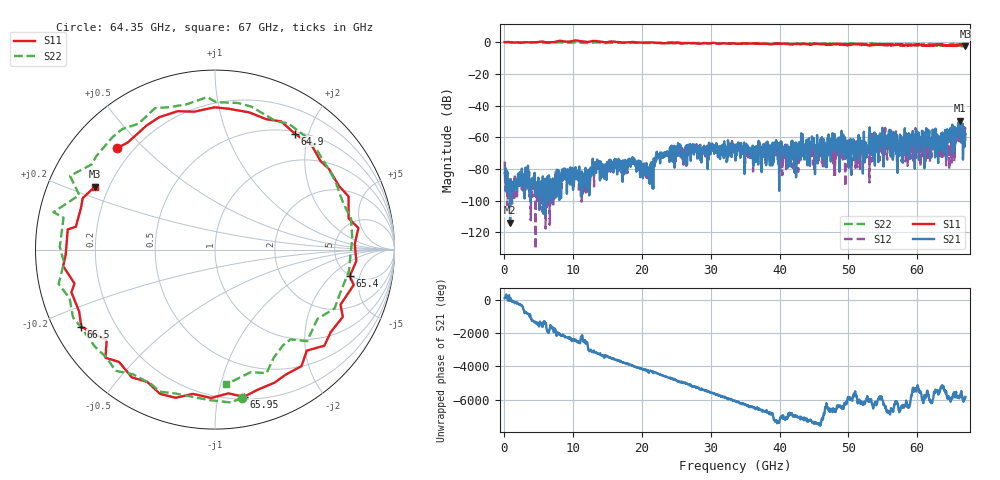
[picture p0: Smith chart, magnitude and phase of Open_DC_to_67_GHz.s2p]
#  HZ  S  MA  R  50.00
! Rohde & Schwarz ZVA67 4Ports - Version 4.11 - 1305.7002k04 SN: 101051
! Date: 2023-05-31 14:28:34
! Measurements: S11 S21 S12 S22
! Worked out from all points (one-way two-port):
!   1340 points, 50 MHz to 67 GHz, reference 50 ohm
!   highest |S21| = -49.48 dB at 66.25 GHz (marker M1); lowest = -114.1 dB at 850 MHz (marker M2)
!   lowest |S11| = -2.4 dB at 67 GHz (marker M3), VSWR 7.17, Z = 7.39 + j12.1 ohm
!   |S11| at or under -10 dB: nowhere
!   |S22| runs from -3.7 to 0.2 dB; largest |S21 - S12| = 0.0036
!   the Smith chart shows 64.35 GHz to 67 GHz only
!   S11 on the Smith chart (normalised r, x): 64.35 GHz: 0.14, +0.42; 64.9 GHz: 0.53, +1.78; 65.4 GHz: 4.94, -3.52; 65.95 GHz: 0.22, -1.19; 66.5 GHz: 0.08, -0.27; 67 GHz: 0.15, +0.24
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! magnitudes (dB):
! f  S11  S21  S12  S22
! 50 MHz  0.0  -82.7  -75.4  -0.1
! 850 MHz  0.1  -114.1  -98.3  0.0
! 11.25 GHz  0.6  -81.6  -100.8  -0.3
! 18.65 GHz  0.2  -76.9  -74.6  -0.4
! 20.95 GHz  -0.1  -81.4  -81.6  -0.5
! 22.4 GHz  -0.5  -72.5  -72.1  -0.4
! 33.55 GHz  -0.9  -69.1  -64.7  -0.7
! 38.8 GHz  -1.2  -71.6  -72.9  -0.7
! 39.45 GHz  -1.0  -64.4  -65.8  -0.7
! 41.4 GHz  -1.2  -67.7  -66.2  -0.9
! 44.7 GHz  -1.1  -59.5  -68.6  -0.9
! 52.65 GHz  -1.8  -72.8  -71.0  -1.0
! 55.85 GHz  -1.6  -62.3  -64.4  -1.4
! 57.4 GHz  -1.5  -71.9  -61.5  -1.4
! 59.25 GHz  -1.9  -59.9  -60.8  -1.4
! 64.35 GHz  -2.1  -54.9  -62.5  -1.5
! 64.9 GHz  -2.1  -58.9  -59.3  -1.3
! 65.4 GHz  -2.3  -59.8  -75.3  -1.6
! 65.95 GHz  -1.6  -50.7  -56.5  -1.7
! 66.25 GHz  -1.6  -49.5  -55.6  -2.3
! 66.5 GHz  -1.3  -53.0  -59.7  -2.4
! 67 GHz  -2.4  -58.1  -62.1  -2.5
